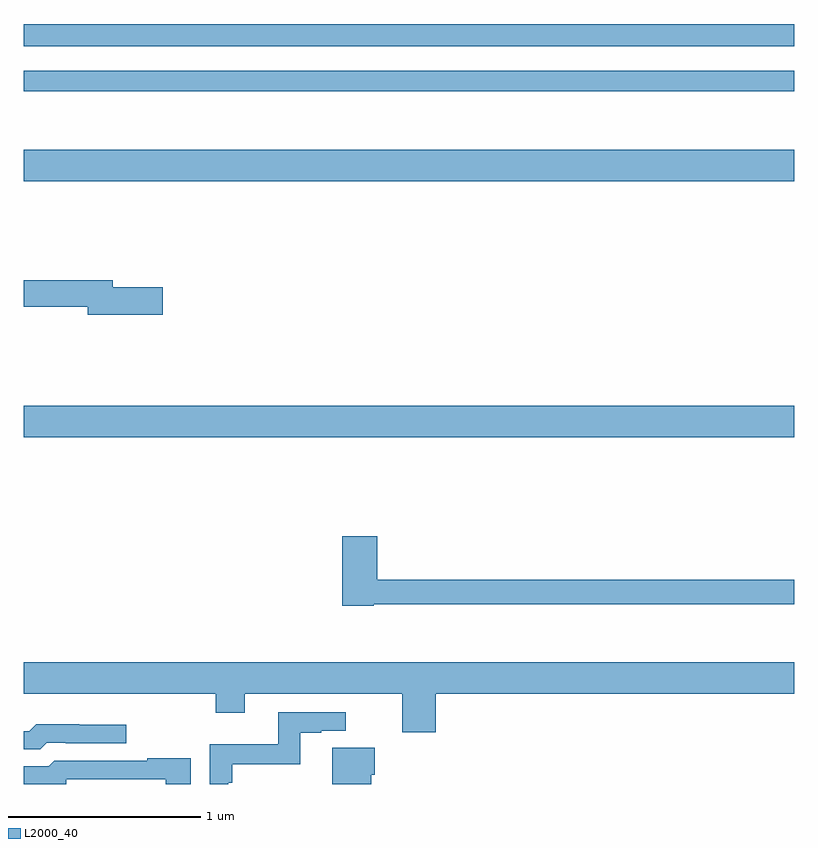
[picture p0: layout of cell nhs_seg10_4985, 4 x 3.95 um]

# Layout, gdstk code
import gdstk
lib = gdstk.Library(unit=1e-6, precision=1e-09)
def R(c, l, rs):  # rectangles x0, y0, x1, y1
    for r in rs: c.add(gdstk.rectangle(r[:2], r[2:], *l))
def P(c, l, *ps):  # polygons
    for p in ps: c.add(gdstk.Polygon(p, *l))
L2000_40 = (2000, 40)

nhs_seg10_4985 = lib.new_cell('nhs_seg10_4985')
R(nhs_seg10_4985, L2000_40, [(399,1316.3,403,1316.464), (399,1317.632,403,1317.796), (399,1318.098,403,1318.206), (399,1318.332,403,1318.448)])
P(nhs_seg10_4985, L2000_40, [(399.721,1317.08),(399.46,1317.08),(399.46,1317.116),(399,1317.116),(399,1316.98),(399.332,1316.98),(399.332,1316.938),(399.721,1316.938)],
  [(400.818,1315.434),(403,1315.434),(403,1315.562),(400.835,1315.562),(400.835,1315.786),(400.652,1315.786),(400.652,1315.426),(400.818,1315.426)],
  [(401.138,1314.968),(403,1314.968),(403,1315.132),(399,1315.132),(399,1314.968),(399.995,1314.968),(399.995,1314.869),(400.147,1314.869),(400.147,1314.968),(400.966,1314.968),(400.966,1314.768),(401.138,1314.768)],
  [(400.062,1314.506),(400.082,1314.506),(400.082,1314.602),(400.435,1314.602),(400.435,1314.765),(400.545,1314.765),(400.545,1314.777),(400.672,1314.777),(400.672,1314.873),(400.322,1314.873),(400.322,1314.706),(399.966,1314.706),(399.966,1314.5),(400.062,1314.5)],
  [(399.117,1314.714),(399.217,1314.714),(399.217,1314.711),(399.532,1314.711),(399.532,1314.808),(399.288,1314.808),(399.288,1314.811),(399.064,1314.811),(399.027,1314.774),(399,1314.774),(399,1314.681),(399.084,1314.681)],
  [(400.804,1314.549),(400.822,1314.549),(400.822,1314.688),(400.601,1314.688),(400.601,1314.5),(400.804,1314.5)],
  [(399.219,1314.525),(399.737,1314.525),(399.737,1314.5),(399.865,1314.5),(399.865,1314.634),(399.641,1314.634),(399.641,1314.621),(399.158,1314.621),(399.129,1314.592),(399,1314.592),(399,1314.5),(399.219,1314.5)])

lib.write_gds('nhs_seg10_4985.gds')
